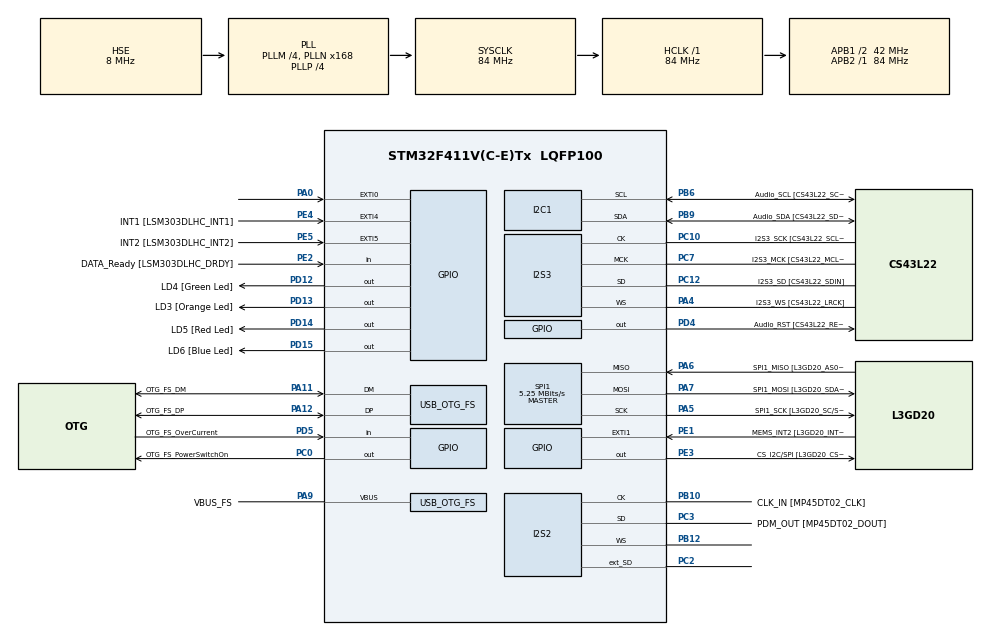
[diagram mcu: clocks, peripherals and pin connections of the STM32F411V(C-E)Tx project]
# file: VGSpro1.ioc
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FREERTOS.INCLUDE_vTaskDelayUntil=1
FREERTOS.Tasks01=defaultTask,0,128,StartDefaultTask,Default,NULL,Dynamic,NULL,NULL
FREERTOS.configUSE_PREEMPTION=1
I2C1.DutyCycle=I2C_DUTYCYCLE_16_9
I2C1.I2C_Mode=I2C_Fast
I2S2.AudioFreq=I2S_AUDIOFREQ_96K
I2S2.ErrorAudioFreq=0.15 %
I2S2.FullDuplexMode=I2S_FULLDUPLEXMODE_ENABLE
I2S2.Instance=SPI$Index
I2S2.RealAudioFreq=96.153 KHz
I2S2.VirtualMode=I2S_MODE_MASTER
I2S3.AudioFreq=I2S_AUDIOFREQ_96K
I2S3.ErrorAudioFreq=-6.99 %
I2S3.FullDuplexMode=I2S_FULLDUPLEXMODE_DISABLE
I2S3.Instance=SPI$Index
I2S3.RealAudioFreq=89.285 KHz
I2S3.VirtualMode=I2S_MODE_MASTER
Mcu.Family=STM32F4
Mcu.Name=STM32F411V(C-E)Tx
Mcu.Package=LQFP100
NVIC.OTG_FS_IRQn=true\:0\:0\:false\:false\:true\:false\:true\:true
NVIC.PriorityGroup=NVIC_PRIORITYGROUP_4
PA0-WKUP.GPIO_ModeDefaultEXTI=GPIO_MODE_EVT_RISING
PA0-WKUP.Signal=GPXTI0
PA10.GPIO_Label=OTG_FS_ID
PA10.Signal=USB_OTG_FS_ID
PA11.GPIO_Label=OTG_FS_DM
PA11.Mode=Device_Only
PA11.Signal=USB_OTG_FS_DM
PA12.GPIO_Label=OTG_FS_DP
PA12.Mode=Device_Only
PA12.Signal=USB_OTG_FS_DP
PA13.GPIO_Label=SWDIO
PA13.Mode=Serial_Wire
PA13.Signal=SYS_JTMS-SWDIO
PA14.GPIO_Label=SWCLK
PA14.Mode=Serial_Wire
PA14.Signal=SYS_JTCK-SWCLK
PA4.GPIO_Label=I2S3_WS [CS43L22_LRCK]
PA4.GPIO_Mode=GPIO_MODE_AF_PP
PA4.GPIO_PuPd=GPIO_NOPULL
PA4.GPIO_Speed=GPIO_SPEED_FREQ_LOW
PA4.Mode=Half_Duplex_Master
PA4.Signal=I2S3_WS
PA5.GPIO_Label=SPI1_SCK [L3GD20_SC/SPC]
PA5.Mode=Full_Duplex_Master
PA5.Signal=SPI1_SCK
PA6.GPIO_Label=SPI1_MISO [L3GD20_AS0/SDO]
PA6.Mode=Full_Duplex_Master
PA6.Signal=SPI1_MISO
PA7.GPIO_Label=SPI1_MOSI [L3GD20_SDA/SDI/SDO]
PA7.Mode=Full_Duplex_Master
PA7.Signal=SPI1_MOSI
PA9.GPIO_Label=VBUS_FS
PA9.Mode=Activate_VBUS
PA9.Signal=USB_OTG_FS_VBUS
PB10.GPIO_Label=CLK_IN [MP45DT02_CLK]
PB10.Mode=Full_Duplex_Master
PB10.Signal=I2S2_CK
PB12.Mode=Full_Duplex_Master
PB12.Signal=I2S2_WS
PB3.GPIO_Label=SWO
PB3.Signal=SYS_JTDO-SWO
PB6.GPIO_Label=Audio_SCL [CS43L22_SCL]
PB6.GPIO_Mode=GPIO_MODE_AF_OD
PB6.GPIO_PuPd=GPIO_NOPULL
PB6.GPIO_Speed=GPIO_SPEED_FREQ_LOW
PB6.Mode=I2C
PB6.Signal=I2C1_SCL
PB9.GPIO_Label=Audio_SDA [CS43L22_SDA]
PB9.GPIO_Mode=GPIO_MODE_AF_OD
PB9.GPIO_PuPd=GPIO_NOPULL
PB9.GPIO_Speed=GPIO_SPEED_FREQ_LOW
PB9.Mode=I2C
PB9.Signal=I2C1_SDA
PC0.GPIO_Label=OTG_FS_PowerSwitchOn
PC0.PinState=GPIO_PIN_SET
PC0.Signal=GPIO_Output
PC10.GPIO_Label=I2S3_SCK [CS43L22_SCLK]
PC10.GPIO_Mode=GPIO_MODE_AF_PP
PC10.GPIO_PuPd=GPIO_NOPULL
PC10.GPIO_Speed=GPIO_SPEED_FREQ_LOW
PC10.Mode=Half_Duplex_Master
PC10.Signal=I2S3_CK
PC12.GPIO_Label=I2S3_SD [CS43L22_SDIN]
PC12.GPIO_Mode=GPIO_MODE_AF_PP
PC12.GPIO_PuPd=GPIO_NOPULL
PC12.GPIO_Speed=GPIO_SPEED_FREQ_LOW
PC12.Mode=Half_Duplex_Master
PC12.Signal=I2S3_SD
PC14-OSC32_IN.GPIO_Label=PC14-OSC32_IN
PC14-OSC32_IN.Signal=RCC_OSC32_IN
PC15-OSC32_OUT.GPIO_Label=PC15-OSC32_OUT
PC15-OSC32_OUT.Signal=RCC_OSC32_OUT
PC2.Mode=Full_Duplex_Master
PC2.Signal=I2S2_ext_SD
PC3.GPIO_Label=PDM_OUT [MP45DT02_DOUT]
PC3.Mode=Full_Duplex_Master
PC3.Signal=I2S2_SD
PC7.GPIO_Label=I2S3_MCK [CS43L22_MCLK]
PC7.GPIO_Mode=GPIO_MODE_AF_PP
PC7.GPIO_PuPd=GPIO_NOPULL
PC7.GPIO_Speed=GPIO_SPEED_FREQ_LOW
PC7.Mode=Master_Clock_Activated
PC7.Signal=I2S3_MCK
PD12.GPIO_Label=LD4 [Green Led]
PD12.GPIO_PuPd=GPIO_NOPULL
PD12.GPIO_Speed=GPIO_SPEED_FREQ_LOW
PD12.Signal=GPIO_Output
PD13.GPIO_Label=LD3 [Orange Led]
PD13.GPIO_PuPd=GPIO_NOPULL
PD13.GPIO_Speed=GPIO_SPEED_FREQ_LOW
PD13.Signal=GPIO_Output
PD14.GPIO_Label=LD5 [Red Led]
PD14.GPIO_PuPd=GPIO_NOPULL
PD14.GPIO_Speed=GPIO_SPEED_FREQ_LOW
PD14.Signal=GPIO_Output
PD15.GPIO_Label=LD6 [Blue Led]
PD15.GPIO_PuPd=GPIO_NOPULL
PD15.GPIO_Speed=GPIO_SPEED_FREQ_LOW
PD15.Signal=GPIO_Output
PD4.GPIO_Label=Audio_RST [CS43L22_RESET]
PD4.Signal=GPIO_Output
PD5.GPIO_Label=OTG_FS_OverCurrent
PD5.Signal=GPIO_Input
PE1.GPIO_Label=MEMS_INT2 [L3GD20_INT2]
PE1.GPIO_ModeDefaultEXTI=GPIO_MODE_EVT_RISING
PE1.Signal=GPXTI1
PE2.GPIO_Label=DATA_Ready [LSM303DLHC_DRDY]
PE2.Signal=GPIO_Input
PE3.GPIO_Label=CS_I2C/SPI [L3GD20_CS_I2C/SPI]
PE3.GPIO_Speed=GPIO_SPEED_FREQ_HIGH
PE3.Signal=GPIO_Output
PE4.GPIO_Label=INT1 [LSM303DLHC_INT1]
PE4.GPIO_ModeDefaultEXTI=GPIO_MODE_EVT_RISING
PE4.Signal=GPXTI4
PE5.GPIO_Label=INT2 [LSM303DLHC_INT2]
PE5.GPIO_ModeDefaultEXTI=GPIO_MODE_EVT_RISING
PE5.Signal=GPXTI5
PH0\ -\ OSC_IN.GPIO_Label=PH0-OSC_IN
PH0\ -\ OSC_IN.Mode=HSE-External-Oscillator
PH0\ -\ OSC_IN.Signal=RCC_OSC_IN
PH1\ -\ OSC_OUT.GPIO_Label=PH1-OSC_OUT
PH1\ -\ OSC_OUT.Mode=HSE-External-Oscillator
PH1\ -\ OSC_OUT.Signal=RCC_OSC_OUT
ProjectManager.HeapSize=0x200
ProjectManager.StackSize=0x400
ProjectManager.TargetToolchain=STM32CubeIDE
RCC.48MHZClocksFreq_Value=48000000
RCC.AHBFreq_Value=84000000
RCC.APB1CLKDivider=RCC_HCLK_DIV2
RCC.APB1Freq_Value=42000000
RCC.APB1TimFreq_Value=84000000
RCC.APB2Freq_Value=84000000
RCC.APB2TimFreq_Value=84000000
RCC.CortexFreq_Value=84000000
RCC.HCLKFreq_Value=84000000
RCC.HSE_VALUE=8000000
RCC.HSI_VALUE=16000000
RCC.LSE_VALUE=32768
RCC.PLLI2SM=5
RCC.PLLI2SN=200
RCC.PLLM=4
RCC.PLLN=168
RCC.PLLP=RCC_PLLP_DIV4
RCC.PLLQ=7
RCC.SYSCLKFreq_VALUE=84000000
RCC.SYSCLKSource=RCC_SYSCLKSOURCE_PLLCLK
RCC.VCOOutputFreq_Value=336000000
SPI1.BaudRatePrescaler=SPI_BAUDRATEPRESCALER_16
SPI1.CLKPhase=SPI_PHASE_2EDGE
SPI1.CLKPolarity=SPI_POLARITY_HIGH
SPI1.CalculateBaudRate=5.25 MBits/s
SPI1.Direction=SPI_DIRECTION_2LINES
SPI1.Mode=SPI_MODE_MASTER
SPI1.VirtualType=VM_MASTER
USB_DEVICE.CLASS_NAME_FS=CDC
USB_DEVICE.PRODUCT_STRING_CDC_FS=JebiJeza
USB_DEVICE.VirtualMode=Cdc
USB_DEVICE.VirtualModeFS=Cdc_FS
USB_OTG_FS.VirtualMode=Device_Only
VP_FREERTOS_VS_CMSIS_V1.Mode=CMSIS_V1
VP_USB_DEVICE_VS_USB_DEVICE_CDC_FS.Mode=CDC_FS
board=STM32F411E-DISCO

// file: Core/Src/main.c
/* USER CODE BEGIN Header */
/**
 ******************************************************************************
 * @file           : main.c
 * @brief          : Main program body
 ******************************************************************************
 * @attention
 *
 * <h2><center>&copy; Copyright (c) 2021 STMicroelectronics.
 * All rights reserved.</center></h2>
 *
 * This software component is licensed by ST under Ultimate Liberty license
 * SLA0044, the "License"; You may not use this file except in compliance with
 * the License. You may obtain a copy of the License at:
 *                             www.st.com/SLA0044
 *
 ******************************************************************************
 */
/* USER CODE END Header */
#include "main.h"
#include "cmsis_os.h"
#include "usb_device.h"

/* USER CODE BEGIN Includes */
#include "usbd_cdc_if.h"
#include "string.h"
#include <stdio.h>
#include "../Inc/printf.h"
#include "stream_buffer.h"
/* USER CODE END Includes */

I2C_HandleTypeDef hi2c1;

I2S_HandleTypeDef hi2s2;
I2S_HandleTypeDef hi2s3;

SPI_HandleTypeDef hspi1;

osThreadId defaultTaskHandle;
/* USER CODE BEGIN PV */

TaskHandle_t xMagHandle = NULL;
TaskHandle_t xAccHandle = NULL;
TaskHandle_t xGyroHandle = NULL;
TaskHandle_t xPrintHandle = NULL;

StreamBufferHandle_t xStreamBufferMag = NULL;
StreamBufferHandle_t xStreamBufferAcc = NULL;
StreamBufferHandle_t xStreamBufferGyro = NULL;

/* USER CODE END PV */

void SystemClock_Config(void);
static void MX_GPIO_Init(void);
static void MX_I2C1_Init(void);
static void MX_I2S2_Init(void);
static void MX_I2S3_Init(void);
static void MX_SPI1_Init(void);
void StartDefaultTask(void const *argument);

/* USER CODE BEGIN PFP */
uint8_t i2c1_pisiMagReg(uint8_t, uint8_t, uint8_t);
void i2c1_beriMagReg(uint8_t, uint8_t, uint8_t*, uint8_t);
void initMagnetometer(void);

uint8_t i2c1_pisiAccReg(uint8_t, uint8_t, uint8_t);
void i2c1_beriAccReg(uint8_t, uint8_t, uint8_t*, uint8_t);
void initAccelmeter(void);

uint8_t spi1_beriRegister(uint8_t);
void spi1_beriRegistre(uint8_t, uint8_t*, uint8_t);
void spi1_pisiRegister(uint8_t, uint8_t);
void initGyro(void);
/* USER CODE END PFP */

/* USER CODE BEGIN 0 */

//
//Mag functions
uint8_t i2c1_pisiMagReg(uint8_t naprava, uint8_t reg, uint8_t podatek) {
	naprava <<= 1;
	return HAL_I2C_Mem_Write(&hi2c1, naprava, reg, I2C_MEMADD_SIZE_8BIT,
			&podatek, 1, 10);
}

void i2c1_beriMagReg(uint8_t naprava, uint8_t reg, uint8_t *podatek,
		uint8_t dolzina) {
	if ((dolzina > 1) && (naprava == 0x1e)) // ce je naprava 0x19 moramo postaviti ta bit, ce zelimo brati vec zlogov
		reg |= 0x80;
	naprava <<= 1;
	HAL_I2C_Mem_Read(&hi2c1, naprava, reg, I2C_MEMADD_SIZE_8BIT, podatek,
			dolzina, dolzina);
}

void initMagnetometer() {
	HAL_Delay(10);

// Za potrebe testa, moramo testni napravi sporoviti kateri senzor imamo
//#define OLD_SENSOR 0x73 // Odkomentiramo za LSM303DLHC / stari senzor
#define NEW_SENSOR 0x6E // Odkomentiramo za LSM303AGR / novi senzor

#if defined(OLD_SENSOR) && !defined(NEW_SENSOR)
  i2c1_pisiMagReg(0x1e, 0x4F, OLD_SENSOR); // Povemo testni napravi, da imamo stari senzor
#elif !defined(OLD_SENSOR) && defined(NEW_SENSOR)
	i2c1_pisiMagReg(0x1e, 0x4F, NEW_SENSOR); // Povemo testni napravi, da imamo novi senzor
#else
  for(;;); // V primeru napake, pocakamo tukaj
#endif
	HAL_Delay(100);

	// inicializiraj pospeskometer
	i2c1_pisiMagReg(0x1E, 0x60, 0x84);
}

//
//Acc functions
uint8_t i2c1_pisiAccReg(uint8_t naprava, uint8_t reg, uint8_t podatek) {
	naprava <<= 1;
	return HAL_I2C_Mem_Write(&hi2c1, naprava, reg, I2C_MEMADD_SIZE_8BIT,
			&podatek, 1, 10);
}

void i2c1_beriAccReg(uint8_t naprava, uint8_t reg, uint8_t *podatek,
		uint8_t dolzina) {
	if ((dolzina > 1) && (naprava == 0x19)) // ce je naprava 0x19 moramo postaviti ta bit, ce zelimo brati vec zlogov
		reg |= 0x80;
	naprava <<= 1;
	HAL_I2C_Mem_Read(&hi2c1, naprava, reg, I2C_MEMADD_SIZE_8BIT, podatek,
			dolzina, dolzina);
}

void initAccelmeter() {
	HAL_Delay(10);

// Za potrebe testa, moramo testni napravi sporoviti kateri senzor imamo
//#define OLD_SENSOR 0x73 // Odkomentiramo za LSM303DLHC / stari senzor
#define NEW_SENSOR 0x6E // Odkomentiramo za LSM303AGR / novi senzor

#if defined(OLD_SENSOR) && !defined(NEW_SENSOR)
  i2c1_pisiAccReg(0x1e, 0x4F, OLD_SENSOR); // Povemo testni napravi, da imamo stari senzor
#elif !defined(OLD_SENSOR) && defined(NEW_SENSOR)
	i2c1_pisiAccReg(0x1e, 0x4F, NEW_SENSOR); // Povemo testni napravi, da imamo novi senzor
#else
  for(;;); // V primeru napake, pocakamo tukaj
#endif
	HAL_Delay(100);

	// inicializiraj pospeskometer
	i2c1_pisiAccReg(0x19, 0x20, 0x47);  // zbudi pospeskometer in omogoci osi
	i2c1_pisiAccReg(0x19, 0x23, 0x98); // nastavi posodobitev samo ko se prebere vrednost ter visoko locljivost
}

//
//gyro functions
void pavza() {
	uint32_t counter = 0;
	for (counter = 0; counter < 100; counter++) {
		asm("nop");
	}
}

uint8_t spi1_beriRegister(uint8_t reg) {
	uint16_t buf_out, buf_in;
	reg |= 0x80; // najpomembnejsi bit na 1
	buf_out = reg; // little endian, se postavi na pravo mesto ....
	HAL_GPIO_WritePin(GPIOE, GPIO_PIN_3, GPIO_PIN_RESET);
	pavza();
	//HAL_SPI_TransmitReceive(&hspi1, (uint8_t*)&buf_out, (uint8_t*)&buf_in, 2, 2); // blocking posiljanje ....
	HAL_SPI_TransmitReceive(&hspi1, &((uint8_t*) &buf_out)[0],
			&((uint8_t*) &buf_in)[0], 1, 2); // razbito na dva dela, da se podaljsa cas in omogoci pravilno delovanje testa
	pavza();
	HAL_SPI_TransmitReceive(&hspi1, &((uint8_t*) &buf_out)[1],
			&((uint8_t*) &buf_in)[1], 1, 2); // razbito na dva dela, da se podaljsa cas in omogoci pravilno delovanje testa
	HAL_GPIO_WritePin(GPIOE, GPIO_PIN_3, GPIO_PIN_SET);
	pavza();
	return buf_in >> 8; // little endian...
}

void spi1_pisiRegister(uint8_t reg, uint8_t vrednost) {
	uint16_t buf_out;
	buf_out = reg | (vrednost << 8); // little endian, se postavi na pravo mesto ....
	HAL_GPIO_WritePin(GPIOE, GPIO_PIN_3, GPIO_PIN_RESET);
	pavza();
	//HAL_SPI_Transmit(&hspi1, (uint8_t*)&buf_out, 2, 2); // blocking posiljanje ....
	HAL_SPI_Transmit(&hspi1, &((uint8_t*) &buf_out)[0], 1, 2); // razbito na dva dela, da se podaljsa cas in omogoci pravilno delovanje testa
	pavza();
	HAL_SPI_Transmit(&hspi1, &((uint8_t*) &buf_out)[1], 1, 2); // razbito na dva dela, da se podaljsa cas in omogoci pravilno delovanje testa
	HAL_GPIO_WritePin(GPIOE, GPIO_PIN_3, GPIO_PIN_SET);
	pavza();
}

void spi1_beriRegistre(uint8_t reg, uint8_t *buffer, uint8_t velikost) {
	reg |= 0xC0; // najpomembnejsa bita na 1
	HAL_GPIO_WritePin(GPIOE, GPIO_PIN_3, GPIO_PIN_RESET);
	pavza();
	HAL_SPI_Transmit(&hspi1, &reg, 1, 10); // blocking posiljanje....
	pavza();
	HAL_SPI_Receive(&hspi1, buffer, velikost, velikost); // blocking posiljanje....
	HAL_GPIO_WritePin(GPIOE, GPIO_PIN_3, GPIO_PIN_SET);
	pavza();
}

void initGyro() {
	// preverimo ali smo "poklicali" pravi senzor
	uint8_t cip = spi1_beriRegister(0x0F);
	if (cip != 0xD4 && cip != 0xD3) {
		for (;;)
			;
	}

	spi1_pisiRegister(0x20, 0x4F); // 4 - nastavitev za 190Hz | F - zbudi ziroskop in omogoci osi
	spi1_pisiRegister(0x23, 0x10); // 0001 0000 - nastavitev za 500dps
}

//
//tasks
void vTaskMagnetometer(void *pvParameters) {
	/*The parameter value is expected to be 1 as 1 is passed in the
	 pvParameters value in the call to xTaskCreate() below.
	 configASSERT( ( ( uint32_t ) pvParameters ) == 1 );*/

	__HAL_I2C_ENABLE(&hi2c1);
	initMagnetometer();
	int16_t magMeritev[4];
	magMeritev[0] = 0xaaab;
	int8_t packetCounter = 0;
	//TickType_t xLastWakeTime;
	float tMagMeritev[3];

	for (;;) {
		magMeritev[1] = packetCounter++;
		i2c1_beriMagReg(0x1e, 0x68, (uint8_t*) &magMeritev[2], 6);

		tMagMeritev[0] = ((float) magMeritev[2]) * 1.5 * 0.001;
		tMagMeritev[1] = ((float) magMeritev[3]) * 1.5 * 0.001;
		tMagMeritev[2] = ((float) magMeritev[4]) * 1.5 * 0.001;

		xStreamBufferSend(xStreamBufferMag, (void *)tMagMeritev, sizeof(tMagMeritev), pdMS_TO_TICKS(100));

		vTaskSuspend(xMagHandle);
		vTaskResume(xAccHandle);
	}
}

void vTaskAccel(void *pvParameters) {
	/*The parameter value is expected to be 1 as 1 is passed in the
	 pvParameters value in the call to xTaskCreate() below.
	 configASSERT( ( ( uint32_t ) pvParameters ) == 1 );*/

	__HAL_I2C_ENABLE(&hi2c1);
	initAccelmeter();
	int16_t accMeritev[4];
	accMeritev[0] = 0xaaab;
	int8_t packetCounter = 0;
	//TickType_t xLastWakeTime;
	float tAccMeritev[3];

	for (;;) {
		accMeritev[1] = packetCounter++;
		i2c1_beriAccReg(0x19, 0x28, (uint8_t*) &accMeritev[2], 6);

		tAccMeritev[0] = ((float) accMeritev[2]) * 8 / 65536;
		tAccMeritev[1] = ((float) accMeritev[3]) * 8 / 65536;
		tAccMeritev[2] = ((float) accMeritev[4]) * 8 / 65536;

		xStreamBufferSend(xStreamBufferAcc, (void *)tAccMeritev, sizeof(tAccMeritev), pdMS_TO_TICKS(100));

		vTaskSuspend(xAccHandle);
		vTaskResume(xGyroHandle);
	}
}

void vTaskGyro(void *pvParameters) {
	/*The parameter value is expected to be 1 as 1 is passed in the
	 pvParameters value in the call to xTaskCreate() below.
	 configASSERT( ( ( uint32_t ) pvParameters ) == 1 );*/

	__HAL_SPI_ENABLE(&hspi1);
	HAL_GPIO_WritePin(GPIOE, GPIO_PIN_3, GPIO_PIN_SET); // CS postavimo na 1
	initGyro();

	int16_t gyroMeritev[6];
	gyroMeritev[0] = 0xaaab;
	int8_t packetCounter = 0;
	float tGyroMeritev[3];

	for (;;) {
		//oznacitev paketa
		gyroMeritev[1] = packetCounter;
		//branje x,y,z
		spi1_beriRegistre(0x28, (uint8_t*) &gyroMeritev[2], 6);
		//operacija, da dobimo dps
		tGyroMeritev[0] = gyroMeritev[2] * 0.0175;
		tGyroMeritev[1] = gyroMeritev[3] * 0.0175;
		tGyroMeritev[2] = gyroMeritev[4] * 0.0175;

		xStreamBufferSend(xStreamBufferGyro, (void *)tGyroMeritev, sizeof(tGyroMeritev), pdMS_TO_TICKS(100));

		vTaskSuspend(xGyroHandle);

	}
}

void vTaskPrint(void *pvParameters) {
	/*The parameter value is expected to be 1 as 1 is passed in the
	 pvParameters value in the call to xTaskCreate() below.
	 configASSERT( ( ( uint32_t ) pvParameters ) == 1 );*/

	TickType_t xLastWakeTime;
	char buffer[1024];
	uint32_t dolzina;
	float tmpAccArray[3];
	float tmpMagArray[3];
	float tmpGyroArray[3];
	for (;;) {
		xStreamBufferReceive(xStreamBufferGyro, (void *)&tmpGyroArray, sizeof(tmpGyroArray), 0);
		xStreamBufferReceive(xStreamBufferMag, (void *)&tmpAccArray, sizeof(tmpAccArray), 0);
		xStreamBufferReceive(xStreamBufferAcc, (void *)&tmpMagArray, sizeof(tmpMagArray), 0);

		dolzina = sprintf(buffer, "{MAG:{%.3f %.3f %.3f},ACC:{%.3f %.3f %.3f},GYRO:{%.3f %.3f %.3f}}\n\r",
						(float) tmpAccArray[0], (float) tmpAccArray[1], (float) tmpAccArray[2],
						(float) tmpMagArray[0], (float) tmpMagArray[1], (float) tmpMagArray[2],
						(float) tmpGyroArray[0], (float) tmpGyroArray[1], (float) tmpGyroArray[2]);

		//printf("%s", buffer);

		CDC_Transmit_FS((uint8_t*) &buffer, dolzina);
		vTaskDelayUntil(&xLastWakeTime, 50);
		//vTaskSuspend(xPrintHandle);
		vTaskResume(xMagHandle);
	}
}

/* USER CODE END 0 */

int main(void) {

	/* MCU Configuration--------------------------------------------------------*/

	/* Reset of all peripherals, Initializes the Flash interface and the Systick. */
	HAL_Init();

	/* Configure the system clock */
	SystemClock_Config();

	/* Initialize all configured peripherals */
	MX_GPIO_Init();
	MX_I2C1_Init();
	MX_I2S2_Init();
	MX_I2S3_Init();
	MX_SPI1_Init();
	/* USER CODE BEGIN 2 */

	BaseType_t xMagReturned;
	BaseType_t xAccReturned;
	BaseType_t xGyroReturned;
	BaseType_t xPrintReturned;

	//task for magnetometer
	xMagReturned = xTaskCreate(
	vTaskMagnetometer, 					/* Function that implements the task. */
	"Magnetometer", 					/* Text name for the task. */
	512, 								/* Stack size in words, not bytes. */
	(void*) 1, 							/* Parameter passed into the task. */
	3, 									/* Priority at which the task is created. */
	&xMagHandle); 						/* Used to pass out the created task's handle. */

	if (xMagReturned != pdPASS) {
		printf("failed to create Magnetometer\n");
	}

	//task for accelometer
	xAccReturned = xTaskCreate(
	vTaskAccel,  						/* Function that implements the task. */
	"Pospeskometer", 					/* Text name for the task. */
	512, 								/* Stack size in words, not bytes. */
	(void*) 1, 							/* Parameter passed into the task. */
	3, 									/* Priority at which the task is created. */
	&xAccHandle); 						/* Used to pass out the created task's handle. */

	if (xAccReturned != pdPASS) {
		printf("failed to create Accel\n");
	}

	//task for gyro
	xGyroReturned = xTaskCreate(
	vTaskGyro, 							/* Function that implements the task. */
	"Gyroskop",							/* Text name for the task. */
	512, 								/* Stack size in words, not bytes. */
	(void*) 1, 							/* Parameter passed into the task. */
	3, 									/* Priority at which the task is created. */
	&xGyroHandle); 						/* Used to pass out the created task's handle. */

	if (xGyroReturned != pdPASS) {
		printf("failed to create Gyro\n");
	}

	//task for cdc transmit
	xPrintReturned = xTaskCreate(
	vTaskPrint, 						/* Function that implements the task. */
	"Transmit", 						/* Text name for the task. */
	512, 								/* Stack size in words, not bytes. */
	(void*) 1, 							/* Parameter passed into the task. */
	3, 									/* Priority at which the task is created. */
	&xPrintHandle); 					/* Used to pass out the created task's handle. */

	if (xPrintReturned != pdPASS) {
		printf("failed to create Transmit\n");
	}

	xStreamBufferMag = xStreamBufferCreate(16, 16);
	xStreamBufferAcc = xStreamBufferCreate(16, 16);
	xStreamBufferGyro = xStreamBufferCreate(16, 16);

	vTaskSuspend(xAccHandle);
	vTaskSuspend(xGyroHandle);

	/* USER CODE END 2 */

	/* Create the thread(s) */
	/* definition and creation of defaultTask */
	osThreadDef(defaultTask, StartDefaultTask, osPriorityNormal, 0, 128);
	defaultTaskHandle = osThreadCreate(osThread(defaultTask), NULL);

	/* Start scheduler */
	osKernelStart();

	/* We should never get here as control is now taken by the scheduler */
	/* Infinite loop */
	while (1) {

	}
}

void SystemClock_Config(void) {
	RCC_OscInitTypeDef RCC_OscInitStruct = { 0 };
	RCC_ClkInitTypeDef RCC_ClkInitStruct = { 0 };
	RCC_PeriphCLKInitTypeDef PeriphClkInitStruct = { 0 };

	/** Configure the main internal regulator output voltage
	 */
	__HAL_RCC_PWR_CLK_ENABLE();
	__HAL_PWR_VOLTAGESCALING_CONFIG(PWR_REGULATOR_VOLTAGE_SCALE1);
	/** Initializes the RCC Oscillators according to the specified parameters
	 * in the RCC_OscInitTypeDef structure.
	 */
	RCC_OscInitStruct.OscillatorType = RCC_OSCILLATORTYPE_HSE;
	RCC_OscInitStruct.HSEState = RCC_HSE_ON;
	RCC_OscInitStruct.PLL.PLLState = RCC_PLL_ON;
	RCC_OscInitStruct.PLL.PLLSource = RCC_PLLSOURCE_HSE;
	RCC_OscInitStruct.PLL.PLLM = 4;
	RCC_OscInitStruct.PLL.PLLN = 168;
	RCC_OscInitStruct.PLL.PLLP = RCC_PLLP_DIV4;
	RCC_OscInitStruct.PLL.PLLQ = 7;
	if (HAL_RCC_OscConfig(&RCC_OscInitStruct) != HAL_OK) {
		Error_Handler();
	}
	/** Initializes the CPU, AHB and APB buses clocks
	 */
	RCC_ClkInitStruct.ClockType = RCC_CLOCKTYPE_HCLK | RCC_CLOCKTYPE_SYSCLK
			| RCC_CLOCKTYPE_PCLK1 | RCC_CLOCKTYPE_PCLK2;
	RCC_ClkInitStruct.SYSCLKSource = RCC_SYSCLKSOURCE_PLLCLK;
	RCC_ClkInitStruct.AHBCLKDivider = RCC_SYSCLK_DIV1;
	RCC_ClkInitStruct.APB1CLKDivider = RCC_HCLK_DIV2;
	RCC_ClkInitStruct.APB2CLKDivider = RCC_HCLK_DIV1;

	if (HAL_RCC_ClockConfig(&RCC_ClkInitStruct, FLASH_LATENCY_2) != HAL_OK) {
		Error_Handler();
	}
	PeriphClkInitStruct.PeriphClockSelection = RCC_PERIPHCLK_I2S;
	PeriphClkInitStruct.PLLI2S.PLLI2SN = 200;
	PeriphClkInitStruct.PLLI2S.PLLI2SM = 5;
	PeriphClkInitStruct.PLLI2S.PLLI2SR = 2;
	if (HAL_RCCEx_PeriphCLKConfig(&PeriphClkInitStruct) != HAL_OK) {
		Error_Handler();
	}
}

static void MX_I2C1_Init(void) {

	hi2c1.Instance = I2C1;
	hi2c1.Init.ClockSpeed = 400000;
	hi2c1.Init.DutyCycle = I2C_DUTYCYCLE_16_9;
	hi2c1.Init.OwnAddress1 = 0;
	hi2c1.Init.AddressingMode = I2C_ADDRESSINGMODE_7BIT;
	hi2c1.Init.DualAddressMode = I2C_DUALADDRESS_DISABLE;
	hi2c1.Init.OwnAddress2 = 0;
	hi2c1.Init.GeneralCallMode = I2C_GENERALCALL_DISABLE;
	hi2c1.Init.NoStretchMode = I2C_NOSTRETCH_DISABLE;
	if (HAL_I2C_Init(&hi2c1) != HAL_OK) {
		Error_Handler();
	}

}

static void MX_I2S2_Init(void) {

	hi2s2.Instance = SPI2;
	hi2s2.Init.Mode = I2S_MODE_MASTER_TX;
	hi2s2.Init.Standard = I2S_STANDARD_PHILIPS;
	hi2s2.Init.DataFormat = I2S_DATAFORMAT_16B;
	hi2s2.Init.MCLKOutput = I2S_MCLKOUTPUT_DISABLE;
	hi2s2.Init.AudioFreq = I2S_AUDIOFREQ_96K;
	hi2s2.Init.CPOL = I2S_CPOL_LOW;
	hi2s2.Init.ClockSource = I2S_CLOCK_PLL;
	hi2s2.Init.FullDuplexMode = I2S_FULLDUPLEXMODE_ENABLE;
	if (HAL_I2S_Init(&hi2s2) != HAL_OK) {
		Error_Handler();
	}

}

static void MX_I2S3_Init(void) {

	hi2s3.Instance = SPI3;
	hi2s3.Init.Mode = I2S_MODE_MASTER_TX;
	hi2s3.Init.Standard = I2S_STANDARD_PHILIPS;
	hi2s3.Init.DataFormat = I2S_DATAFORMAT_16B;
	hi2s3.Init.MCLKOutput = I2S_MCLKOUTPUT_ENABLE;
	hi2s3.Init.AudioFreq = I2S_AUDIOFREQ_96K;
	hi2s3.Init.CPOL = I2S_CPOL_LOW;
	hi2s3.Init.ClockSource = I2S_CLOCK_PLL;
	hi2s3.Init.FullDuplexMode = I2S_FULLDUPLEXMODE_DISABLE;
	if (HAL_I2S_Init(&hi2s3) != HAL_OK) {
		Error_Handler();
	}

}

static void MX_SPI1_Init(void) {

	/* SPI1 parameter configuration*/
	hspi1.Instance = SPI1;
	hspi1.Init.Mode = SPI_MODE_MASTER;
	hspi1.Init.Direction = SPI_DIRECTION_2LINES;
	hspi1.Init.DataSize = SPI_DATASIZE_8BIT;
	hspi1.Init.CLKPolarity = SPI_POLARITY_HIGH;
	hspi1.Init.CLKPhase = SPI_PHASE_2EDGE;
	hspi1.Init.NSS = SPI_NSS_SOFT;
	hspi1.Init.BaudRatePrescaler = SPI_BAUDRATEPRESCALER_16;
	hspi1.Init.FirstBit = SPI_FIRSTBIT_MSB;
	hspi1.Init.TIMode = SPI_TIMODE_DISABLE;
	hspi1.Init.CRCCalculation = SPI_CRCCALCULATION_DISABLE;
	hspi1.Init.CRCPolynomial = 10;
	if (HAL_SPI_Init(&hspi1) != HAL_OK) {
		Error_Handler();
	}

}

static void MX_GPIO_Init(void) {
	GPIO_InitTypeDef GPIO_InitStruct = { 0 };

	/* GPIO Ports Clock Enable */
	__HAL_RCC_GPIOE_CLK_ENABLE();
	__HAL_RCC_GPIOC_CLK_ENABLE();
	__HAL_RCC_GPIOH_CLK_ENABLE();
	__HAL_RCC_GPIOA_CLK_ENABLE();
	__HAL_RCC_GPIOB_CLK_ENABLE();
	__HAL_RCC_GPIOD_CLK_ENABLE();

	/*Configure GPIO pin Output Level */
	HAL_GPIO_WritePin(CS_I2C_SPI_GPIO_Port, CS_I2C_SPI_Pin, GPIO_PIN_RESET);

	/*Configure GPIO pin Output Level */
	HAL_GPIO_WritePin(OTG_FS_PowerSwitchOn_GPIO_Port, OTG_FS_PowerSwitchOn_Pin,
			GPIO_PIN_SET);

	/*Configure GPIO pin Output Level */
	HAL_GPIO_WritePin(GPIOD,
			LD4_Pin | LD3_Pin | LD5_Pin | LD6_Pin | Audio_RST_Pin,
			GPIO_PIN_RESET);

	/*Configure GPIO pin : DATA_Ready_Pin */
	GPIO_InitStruct.Pin = DATA_Ready_Pin;
	GPIO_InitStruct.Mode = GPIO_MODE_INPUT;
	GPIO_InitStruct.Pull = GPIO_NOPULL;
	HAL_GPIO_Init(DATA_Ready_GPIO_Port, &GPIO_InitStruct);

	/*Configure GPIO pin : CS_I2C_SPI_Pin */
	GPIO_InitStruct.Pin = CS_I2C_SPI_Pin;
	GPIO_InitStruct.Mode = GPIO_MODE_OUTPUT_PP;
	GPIO_InitStruct.Pull = GPIO_NOPULL;
	GPIO_InitStruct.Speed = GPIO_SPEED_FREQ_HIGH;
	HAL_GPIO_Init(CS_I2C_SPI_GPIO_Port, &GPIO_InitStruct);

	/*Configure GPIO pins : INT1_Pin INT2_Pin MEMS_INT2_Pin */
	GPIO_InitStruct.Pin = INT1_Pin | INT2_Pin | MEMS_INT2_Pin;
	GPIO_InitStruct.Mode = GPIO_MODE_EVT_RISING;
	GPIO_InitStruct.Pull = GPIO_NOPULL;
	HAL_GPIO_Init(GPIOE, &GPIO_InitStruct);

	/*Configure GPIO pin : OTG_FS_PowerSwitchOn_Pin */
	GPIO_InitStruct.Pin = OTG_FS_PowerSwitchOn_Pin;
	GPIO_InitStruct.Mode = GPIO_MODE_OUTPUT_PP;
	GPIO_InitStruct.Pull = GPIO_NOPULL;
	GPIO_InitStruct.Speed = GPIO_SPEED_FREQ_LOW;
	HAL_GPIO_Init(OTG_FS_PowerSwitchOn_GPIO_Port, &GPIO_InitStruct);

	/*Configure GPIO pin : PA0 */
	GPIO_InitStruct.Pin = GPIO_PIN_0;
	GPIO_InitStruct.Mode = GPIO_MODE_EVT_RISING;
	GPIO_InitStruct.Pull = GPIO_NOPULL;
	HAL_GPIO_Init(GPIOA, &GPIO_InitStruct);

	/*Configure GPIO pins : LD4_Pin LD3_Pin LD5_Pin LD6_Pin
	 Audio_RST_Pin */
	GPIO_InitStruct.Pin = LD4_Pin | LD3_Pin | LD5_Pin | LD6_Pin | Audio_RST_Pin;
	GPIO_InitStruct.Mode = GPIO_MODE_OUTPUT_PP;
	GPIO_InitStruct.Pull = GPIO_NOPULL;
	GPIO_InitStruct.Speed = GPIO_SPEED_FREQ_LOW;
	HAL_GPIO_Init(GPIOD, &GPIO_InitStruct);

	/*Configure GPIO pin : OTG_FS_OverCurrent_Pin */
	GPIO_InitStruct.Pin = OTG_FS_OverCurrent_Pin;
	GPIO_InitStruct.Mode = GPIO_MODE_INPUT;
	GPIO_InitStruct.Pull = GPIO_NOPULL;
	HAL_GPIO_Init(OTG_FS_OverCurrent_GPIO_Port, &GPIO_InitStruct);

}

void StartDefaultTask(void const *argument) {
	/* init code for USB_DEVICE */
	MX_USB_DEVICE_Init();
	for (;;) {
		osDelay(1);
	}
}

void Error_Handler(void) {
}

/************************ (C) COPYRIGHT STMicroelectronics *****END OF FILE****/
